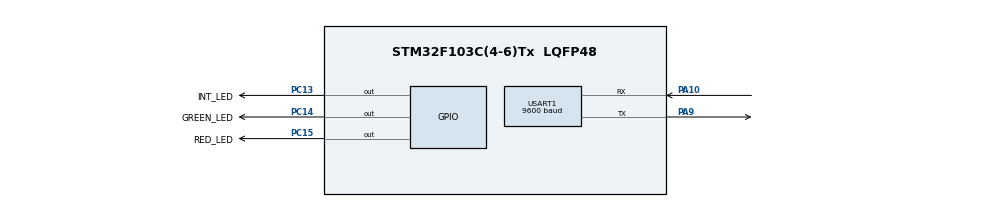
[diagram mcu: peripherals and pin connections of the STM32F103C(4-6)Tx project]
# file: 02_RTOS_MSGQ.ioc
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FREERTOS.Queues01=myQueue01,16,uint16_t,0,Dynamic,NULL,NULL
FREERTOS.Tasks01=defaultTask,24,128,StartDefaultTask,Default,NULL,Dynamic,NULL,NULL;myTask02,8,128,StartTask02,Default,NULL,Dynamic,NULL,NULL;myTask03,8,128,StartTask03,Default,NULL,Dynamic,NULL,NULL
Mcu.Family=STM32F1
Mcu.Name=STM32F103C(4-6)Tx
Mcu.Package=LQFP48
NVIC.PriorityGroup=NVIC_PRIORITYGROUP_4
PA10.Mode=Asynchronous
PA10.Signal=USART1_RX
PA9.Mode=Asynchronous
PA9.Signal=USART1_TX
PC13-TAMPER-RTC.GPIO_Label=INT_LED
PC13-TAMPER-RTC.Signal=GPIO_Output
PC14-OSC32_IN.GPIO_Label=GREEN_LED
PC14-OSC32_IN.Signal=GPIO_Output
PC15-OSC32_OUT.GPIO_Label=RED_LED
PC15-OSC32_OUT.Signal=GPIO_Output
ProjectManager.HeapSize=0x200
ProjectManager.StackSize=0x400
ProjectManager.TargetToolchain=STM32CubeIDE
RCC.APB1Freq_Value=8000000
RCC.APB2Freq_Value=8000000
USART1.BaudRate=9600
USART1.VirtualMode=VM_ASYNC
VP_FREERTOS_VS_CMSIS_V2.Mode=CMSIS_V2
VP_SYS_VS_ND.Mode=No_Debug
board=custom

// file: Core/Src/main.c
/* USER CODE BEGIN Header */
/**
 ******************************************************************************
 * @file           : main.c
 * @brief          : Main program body
 ******************************************************************************
 * @attention
 *
 * Copyright (c) 2026 STMicroelectronics.
 * All rights reserved.
 *
 * This software is licensed under terms that can be found in the LICENSE file
 * in the root directory of this software component.
 * If no LICENSE file comes with this software, it is provided AS-IS.
 *
 ******************************************************************************
 */
/* USER CODE END Header */
#include "main.h"
#include "cmsis_os.h"
#include "stdio.h"
#include "string.h"

UART_HandleTypeDef huart1;

/* Definitions for defaultTask */
osThreadId_t defaultTaskHandle;
const osThreadAttr_t defaultTask_attributes = { .name = "defaultTask",
		.stack_size = 128 * 4, .priority = (osPriority_t) osPriorityNormal, };
/* Definitions for myTask02 */
osThreadId_t myTask02Handle;
const osThreadAttr_t myTask02_attributes = { .name = "myTask02", .stack_size =
		128 * 4, .priority = (osPriority_t) osPriorityLow, };
/* Definitions for myTask03 */
osThreadId_t myTask03Handle;
const osThreadAttr_t myTask03_attributes = { .name = "myTask03", .stack_size =
		128 * 4, .priority = (osPriority_t) osPriorityLow, };
/* Definitions for myQueue01 */
osMessageQueueId_t myQueue01Handle;
const osMessageQueueAttr_t myQueue01_attributes = { .name = "myQueue01" };

void SystemClock_Config(void);
static void MX_GPIO_Init(void);
static void MX_USART1_UART_Init(void);
void StartDefaultTask(void *argument);
void StartTask02(void *argument);
void StartTask03(void *argument);

/* USER CODE BEGIN 0 */
typedef  struct {
	uint8_t id;
	uint16_t Value;
} MailMessage;

void UART_Print(char *msg) {
	HAL_UART_Transmit(&huart1, (uint8_t*) msg,strlen(msg),HAL_MAX_DELAY);
}
/* USER CODE END 0 */

int main(void) {

	/* MCU Configuration--------------------------------------------------------*/

	/* Reset of all peripherals, Initializes the Flash interface and the Systick. */
	HAL_Init();

	/* Configure the system clock */
	SystemClock_Config();

	/* Initialize all configured peripherals */
	MX_GPIO_Init();
	MX_USART1_UART_Init();

	/* Init scheduler */
	osKernelInitialize();

	/* Create the queue(s) */
	/* creation of myQueue01 */
	myQueue01Handle = osMessageQueueNew(16, sizeof(MailMessage),
			&myQueue01_attributes);

	/* Create the thread(s) */
	/* creation of defaultTask */
	defaultTaskHandle = osThreadNew(StartDefaultTask, NULL,
			&defaultTask_attributes);

	/* creation of myTask02 */
	myTask02Handle = osThreadNew(StartTask02, NULL, &myTask02_attributes);

	/* creation of myTask03 */
	myTask03Handle = osThreadNew(StartTask03, NULL, &myTask03_attributes);

	/* Start scheduler */
	osKernelStart();

	/* We should never get here as control is now taken by the scheduler */

	/* Infinite loop */
	while (1) {

	}
}

void SystemClock_Config(void) {
	RCC_OscInitTypeDef RCC_OscInitStruct = { 0 };
	RCC_ClkInitTypeDef RCC_ClkInitStruct = { 0 };

	/** Initializes the RCC Oscillators according to the specified parameters
	 * in the RCC_OscInitTypeDef structure.
	 */
	RCC_OscInitStruct.OscillatorType = RCC_OSCILLATORTYPE_HSI;
	RCC_OscInitStruct.HSIState = RCC_HSI_ON;
	RCC_OscInitStruct.HSICalibrationValue = RCC_HSICALIBRATION_DEFAULT;
	RCC_OscInitStruct.PLL.PLLState = RCC_PLL_NONE;
	if (HAL_RCC_OscConfig(&RCC_OscInitStruct) != HAL_OK) {
		Error_Handler();
	}

	/** Initializes the CPU, AHB and APB buses clocks
	 */
	RCC_ClkInitStruct.ClockType = RCC_CLOCKTYPE_HCLK | RCC_CLOCKTYPE_SYSCLK
			| RCC_CLOCKTYPE_PCLK1 | RCC_CLOCKTYPE_PCLK2;
	RCC_ClkInitStruct.SYSCLKSource = RCC_SYSCLKSOURCE_HSI;
	RCC_ClkInitStruct.AHBCLKDivider = RCC_SYSCLK_DIV1;
	RCC_ClkInitStruct.APB1CLKDivider = RCC_HCLK_DIV1;
	RCC_ClkInitStruct.APB2CLKDivider = RCC_HCLK_DIV1;

	if (HAL_RCC_ClockConfig(&RCC_ClkInitStruct, FLASH_LATENCY_0) != HAL_OK) {
		Error_Handler();
	}
}

static void MX_USART1_UART_Init(void) {

	huart1.Instance = USART1;
	huart1.Init.BaudRate = 9600;
	huart1.Init.WordLength = UART_WORDLENGTH_8B;
	huart1.Init.StopBits = UART_STOPBITS_1;
	huart1.Init.Parity = UART_PARITY_NONE;
	huart1.Init.Mode = UART_MODE_TX_RX;
	huart1.Init.HwFlowCtl = UART_HWCONTROL_NONE;
	huart1.Init.OverSampling = UART_OVERSAMPLING_16;
	if (HAL_UART_Init(&huart1) != HAL_OK) {
		Error_Handler();
	}

}

static void MX_GPIO_Init(void) {
	GPIO_InitTypeDef GPIO_InitStruct = { 0 };

	/* GPIO Ports Clock Enable */
	__HAL_RCC_GPIOC_CLK_ENABLE();
	__HAL_RCC_GPIOA_CLK_ENABLE();

	/*Configure GPIO pin Output Level */
	HAL_GPIO_WritePin(GPIOC, INT_LED_Pin | GREEN_LED_Pin | RED_LED_Pin,
			GPIO_PIN_RESET);

	/*Configure GPIO pins : INT_LED_Pin GREEN_LED_Pin RED_LED_Pin */
	GPIO_InitStruct.Pin = INT_LED_Pin | GREEN_LED_Pin | RED_LED_Pin;
	GPIO_InitStruct.Mode = GPIO_MODE_OUTPUT_PP;
	GPIO_InitStruct.Pull = GPIO_NOPULL;
	GPIO_InitStruct.Speed = GPIO_SPEED_FREQ_LOW;
	HAL_GPIO_Init(GPIOC, &GPIO_InitStruct);

}

void StartDefaultTask(void *argument) {
	/* USER CODE BEGIN 5 */
//	int buffer[64];
	MailMessage msg;
	msg.id = 1;
	msg.Value = 0;
	/* Infinite loop */
	for (;;) {
		msg.Value++;
		if (osMessageQueuePut(myQueue01Handle, &msg, 0, osWaitForever)
				!= osOK) {
			UART_Print("osMessageQueuePut failed\r\n");
			HAL_GPIO_TogglePin(INT_LED_GPIO_Port, INT_LED_Pin);
			osDelay(1000);
		} else {
			UART_Print("osMessageQueuePut Passed\r\n");
		}
		osDelay(1000);
	}
	/* USER CODE END 5 */
}

void StartTask02(void *argument) {
	/* USER CODE BEGIN StartTask02 */
	MailMessage rmsg;
	char buffer[60];

	/* Infinite loop */
	for (;;) {
		if (osMessageQueueGet(myQueue01Handle, &rmsg, NULL, osWaitForever)
				== osOK) {
			HAL_GPIO_TogglePin(RED_LED_GPIO_Port, RED_LED_Pin);

			snprintf(buffer, sizeof(buffer),"Receiver: Got id=%d, value=%d \r\n",rmsg.id,rmsg.Value);
			HAL_UART_Transmit(&huart1,(uint8_t *)buffer, strlen(buffer), 500);
		}
		osDelay(1000);
	}
	/* USER CODE END StartTask02 */
}

void StartTask03(void *argument) {
	for (;;) {
		osDelay(1);
	}
}

void Error_Handler(void) {
	__disable_irq();
	while (1) {
	}
}
